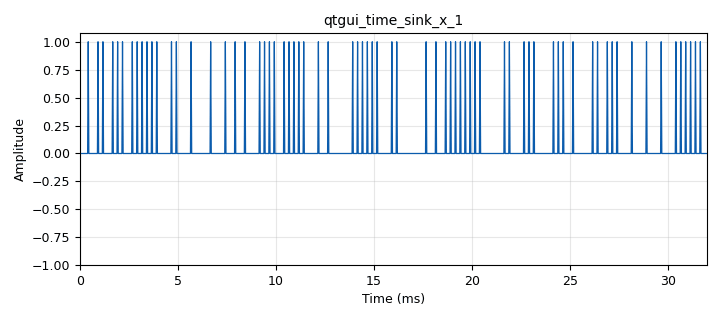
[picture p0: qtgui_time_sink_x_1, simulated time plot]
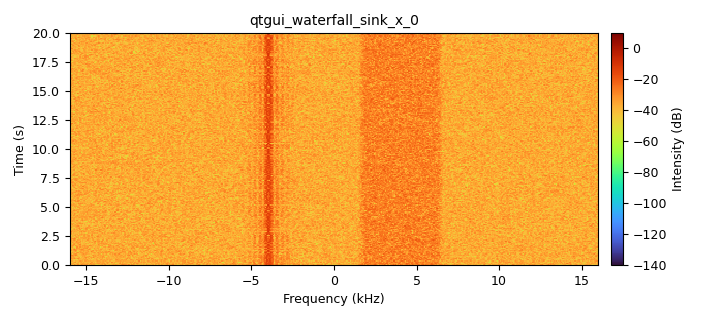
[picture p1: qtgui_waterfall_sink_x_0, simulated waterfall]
<?xml version='1.0' encoding='utf-8'?>
<?grc format='1' created='3.7.12'?>
<flow_graph>
<block>
<key>options</key>
<param><key>id</key><value>dpsk_tx_rx</value></param>
<param><key>generate_options</key><value>qt_gui</value></param>
</block>
<block>
<key>variable</key>
<param><key>id</key><value>samp_rate</value></param>
<param><key>value</key><value>32000</value></param>
</block>
<block>
<key>analog_fastnoise_source_x</key>
<param><key>id</key><value>analog_fastnoise_source_x_0</value></param>
<param><key>amp</key><value>1</value></param>
<param><key>noise_type</key><value>analog.GR_GAUSSIAN</value></param>
<param><key>type</key><value>complex</value></param>
<param><key>seed</key><value>0</value></param>
<param><key>samples</key><value>8192</value></param>
</block>
<block>
<key>analog_fastnoise_source_x</key>
<param><key>id</key><value>analog_fastnoise_source_x_0_0</value></param>
<param><key>amp</key><value>1</value></param>
<param><key>noise_type</key><value>analog.GR_GAUSSIAN</value></param>
<param><key>type</key><value>complex</value></param>
<param><key>seed</key><value>0</value></param>
<param><key>samples</key><value>8192</value></param>
</block>
<block>
<key>analog_random_uniform_source_x</key>
<param><key>id</key><value>analog_random_uniform_source_x_0</value></param>
<param><key>maximum</key><value>2</value></param>
<param><key>minimum</key><value>0</value></param>
<param><key>type</key><value>byte</value></param>
<param><key>seed</key><value>0</value></param>
</block>
<block>
<key>analog_sig_source_x</key>
<param><key>id</key><value>analog_sig_source_x_1</value></param>
<param><key>amp</key><value>1</value></param>
<param><key>freq</key><value>1000</value></param>
<param><key>offset</key><value>0</value></param>
<param><key>type</key><value>complex</value></param>
<param><key>samp_rate</key><value>samp_rate/4</value></param>
<param><key>waveform</key><value>analog.GR_COS_WAVE</value></param>
</block>
<block>
<key>analog_sig_source_x</key>
<param><key>id</key><value>analog_sig_source_x_1_0</value></param>
<param><key>amp</key><value>1</value></param>
<param><key>freq</key><value>1000</value></param>
<param><key>offset</key><value>0</value></param>
<param><key>type</key><value>complex</value></param>
<param><key>samp_rate</key><value>-samp_rate/4</value></param>
<param><key>waveform</key><value>analog.GR_COS_WAVE</value></param>
</block>
<block>
<key>analog_sig_source_x</key>
<param><key>id</key><value>analog_sig_source_x_1_0_0</value></param>
<param><key>amp</key><value>1</value></param>
<param><key>freq</key><value>1000</value></param>
<param><key>offset</key><value>0</value></param>
<param><key>type</key><value>complex</value></param>
<param><key>samp_rate</key><value>samp_rate/4</value></param>
<param><key>waveform</key><value>analog.GR_COS_WAVE</value></param>
</block>
<block>
<key>blocks_add_xx</key>
<param><key>id</key><value>blocks_add_xx_1</value></param>
<param><key>type</key><value>complex</value></param>
<param><key>num_inputs</key><value>3</value></param>
</block>
<block>
<key>blocks_char_to_float</key>
<param><key>id</key><value>blocks_char_to_float_2</value></param>
<param><key>scale</key><value>1</value></param>
</block>
<block>
<key>blocks_multiply_xx</key>
<param><key>id</key><value>blocks_multiply_xx_0</value></param>
<param><key>type</key><value>complex</value></param>
</block>
<block>
<key>blocks_multiply_xx</key>
<param><key>id</key><value>blocks_multiply_xx_0_0</value></param>
<param><key>type</key><value>complex</value></param>
</block>
<block>
<key>blocks_multiply_xx</key>
<param><key>id</key><value>blocks_multiply_xx_0_0_0</value></param>
<param><key>type</key><value>complex</value></param>
</block>
<block>
<key>blocks_throttle</key>
<param><key>id</key><value>blocks_throttle_0</value></param>
<param><key>samples_per_second</key><value>samp_rate</value></param>
<param><key>type</key><value>complex</value></param>
</block>
<block>
<key>digital_dxpsk_demod</key>
<param><key>id</key><value>digital_dxpsk_demod_0</value></param>
<param><key>excess_bw</key><value>0.35</value></param>
<param><key>freq_bw</key><value>6.28/100.0</value></param>
<param><key>mod_code</key><value>"gray"</value></param>
<param><key>log</key><value>False</value></param>
<param><key>phase_bw</key><value>6.28/100.0</value></param>
<param><key>samples_per_symbol</key><value>2</value></param>
<param><key>sync_out</key><value>False</value></param>
<param><key>timing_bw</key><value>6.28/100.0</value></param>
<param><key>type</key><value>dbpsk</value></param>
<param><key>verbose</key><value>False</value></param>
</block>
<block>
<key>digital_dxpsk_mod</key>
<param><key>id</key><value>digital_dxpsk_mod_0</value></param>
<param><key>excess_bw</key><value>0.35</value></param>
<param><key>mod_code</key><value>"gray"</value></param>
<param><key>log</key><value>False</value></param>
<param><key>samples_per_symbol</key><value>2</value></param>
<param><key>type</key><value>dbpsk</value></param>
<param><key>verbose</key><value>False</value></param>
</block>
<block>
<key>qtgui_time_sink_x</key>
<param><key>id</key><value>qtgui_time_sink_x_1</value></param>
<param><key>color1</key><value>"blue"</value></param>
<param><key>label1</key><value></value></param>
<param><key>size</key><value>1024</value></param>
<param><key>srate</key><value>samp_rate</value></param>
<param><key>type</key><value>float</value></param>
</block>
<block>
<key>qtgui_waterfall_sink_x</key>
<param><key>id</key><value>qtgui_waterfall_sink_x_0</value></param>
<param><key>bw</key><value>samp_rate</value></param>
<param><key>fc</key><value>0</value></param>
<param><key>fftsize</key><value>1024</value></param>
<param><key>showports</key><value>True</value></param>
<param><key>type</key><value>complex</value></param>
<param><key>wintype</key><value>firdes.WIN_BLACKMAN_hARRIS</value></param>
</block>
<block>
<key>rational_resampler_xxx</key>
<param><key>id</key><value>rational_resampler_xxx_0</value></param>
<param><key>decim</key><value>1</value></param>
<param><key>interp</key><value>6</value></param>
<param><key>taps</key><value></value></param>
<param><key>type</key><value>ccc</value></param>
</block>
<block>
<key>rational_resampler_xxx</key>
<param><key>id</key><value>rational_resampler_xxx_0_0</value></param>
<param><key>decim</key><value>1</value></param>
<param><key>interp</key><value>6</value></param>
<param><key>taps</key><value></value></param>
<param><key>type</key><value>ccc</value></param>
</block>
<block>
<key>rational_resampler_xxx</key>
<param><key>id</key><value>rational_resampler_xxx_1</value></param>
<param><key>decim</key><value>6</value></param>
<param><key>interp</key><value>1</value></param>
<param><key>taps</key><value></value></param>
<param><key>type</key><value>ccc</value></param>
</block>
<connection><source_block_id>analog_fastnoise_source_x_0</source_block_id><sink_block_id>blocks_add_xx_1</sink_block_id><source_key>0</source_key><sink_key>1</sink_key></connection>
<connection><source_block_id>analog_fastnoise_source_x_0_0</source_block_id><sink_block_id>rational_resampler_xxx_0</sink_block_id><source_key>0</source_key><sink_key>0</sink_key></connection>
<connection><source_block_id>analog_random_uniform_source_x_0</source_block_id><sink_block_id>digital_dxpsk_mod_0</sink_block_id><source_key>0</source_key><sink_key>0</sink_key></connection>
<connection><source_block_id>analog_sig_source_x_1</source_block_id><sink_block_id>blocks_multiply_xx_0</sink_block_id><source_key>0</source_key><sink_key>1</sink_key></connection>
<connection><source_block_id>analog_sig_source_x_1_0</source_block_id><sink_block_id>blocks_multiply_xx_0_0</sink_block_id><source_key>0</source_key><sink_key>1</sink_key></connection>
<connection><source_block_id>analog_sig_source_x_1_0_0</source_block_id><sink_block_id>blocks_multiply_xx_0_0_0</sink_block_id><source_key>0</source_key><sink_key>1</sink_key></connection>
<connection><source_block_id>blocks_add_xx_1</source_block_id><sink_block_id>blocks_throttle_0</sink_block_id><source_key>0</source_key><sink_key>0</sink_key></connection>
<connection><source_block_id>blocks_char_to_float_2</source_block_id><sink_block_id>qtgui_time_sink_x_1</sink_block_id><source_key>0</source_key><sink_key>0</sink_key></connection>
<connection><source_block_id>blocks_multiply_xx_0</source_block_id><sink_block_id>blocks_add_xx_1</sink_block_id><source_key>0</source_key><sink_key>0</sink_key></connection>
<connection><source_block_id>blocks_multiply_xx_0_0</source_block_id><sink_block_id>blocks_add_xx_1</sink_block_id><source_key>0</source_key><sink_key>2</sink_key></connection>
<connection><source_block_id>blocks_multiply_xx_0_0_0</source_block_id><sink_block_id>rational_resampler_xxx_1</sink_block_id><source_key>0</source_key><sink_key>0</sink_key></connection>
<connection><source_block_id>blocks_throttle_0</source_block_id><sink_block_id>blocks_multiply_xx_0_0_0</sink_block_id><source_key>0</source_key><sink_key>0</sink_key></connection>
<connection><source_block_id>blocks_throttle_0</source_block_id><sink_block_id>qtgui_waterfall_sink_x_0</sink_block_id><source_key>0</source_key><sink_key>0</sink_key></connection>
<connection><source_block_id>digital_dxpsk_demod_0</source_block_id><sink_block_id>blocks_char_to_float_2</sink_block_id><source_key>0</source_key><sink_key>0</sink_key></connection>
<connection><source_block_id>digital_dxpsk_mod_0</source_block_id><sink_block_id>rational_resampler_xxx_0_0</sink_block_id><source_key>0</source_key><sink_key>0</sink_key></connection>
<connection><source_block_id>rational_resampler_xxx_0</source_block_id><sink_block_id>blocks_multiply_xx_0</sink_block_id><source_key>0</source_key><sink_key>0</sink_key></connection>
<connection><source_block_id>rational_resampler_xxx_0_0</source_block_id><sink_block_id>blocks_multiply_xx_0_0</sink_block_id><source_key>0</source_key><sink_key>0</sink_key></connection>
<connection><source_block_id>rational_resampler_xxx_1</source_block_id><sink_block_id>digital_dxpsk_demod_0</sink_block_id><source_key>0</source_key><sink_key>0</sink_key></connection>
</flow_graph>
